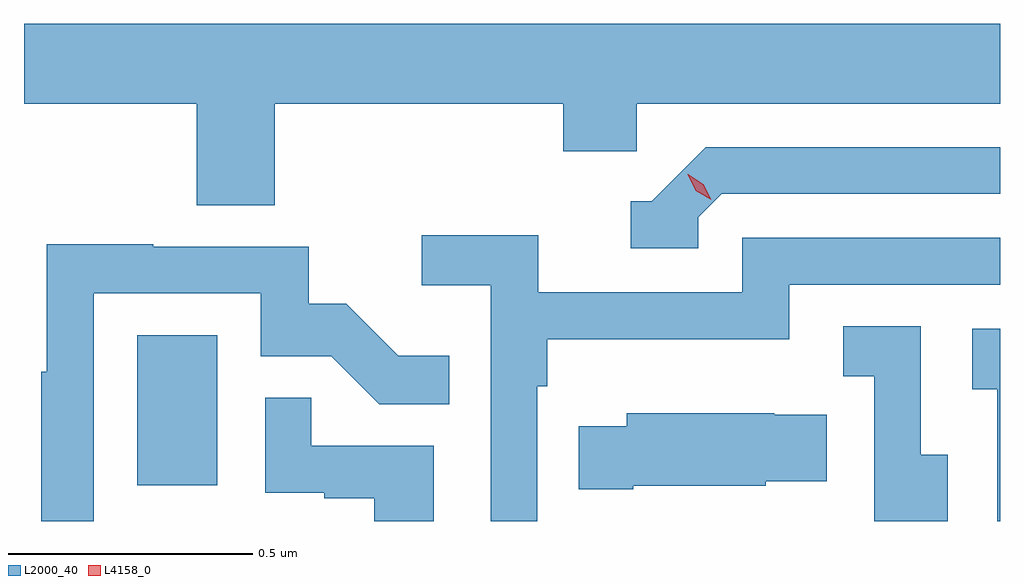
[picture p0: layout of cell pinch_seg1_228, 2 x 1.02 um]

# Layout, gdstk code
import gdstk
lib = gdstk.Library(unit=1e-6, precision=1e-09)
def R(c, l, rs):  # rectangles x0, y0, x1, y1
    for r in rs: c.add(gdstk.rectangle(r[:2], r[2:], *l))
def P(c, l, *ps):  # polygons
    for p in ps: c.add(gdstk.Polygon(p, *l))
L2000_40 = (2000, 40)
L4158_0 = (4158, 0)

pinch_seg1_228 = lib.new_cell('pinch_seg1_228')
R(pinch_seg1_228, L2000_40, [(993.602,569.598,993.766,569.905)])
P(pinch_seg1_228, L2000_40, [(993.884,570.38),(994.475,570.38),(994.475,570.282),(994.626,570.282),(994.626,570.38),(995.37,570.38),(995.37,570.544),(993.37,570.544),(993.37,570.38),(993.724,570.38),(993.724,570.172),(993.884,570.172)],
  [(994.752,570.147),(994.8,570.195),(995.37,570.195),(995.37,570.291),(994.767,570.291),(994.656,570.18),(994.613,570.18),(994.613,570.084),(994.752,570.084)],
  [(994.422,569.801),(994.442,569.801),(994.442,569.897),(994.938,569.897),(994.938,570.009),(995.37,570.009),(995.37,570.105),(994.842,570.105),(994.842,569.994),(994.424,569.994),(994.424,570.11),(994.185,570.11),(994.185,570.008),(994.326,570.008),(994.326,569.524),(994.422,569.524)],
  [(993.513,569.991),(993.855,569.991),(993.855,569.862),(994,569.862),(994.098,569.764),(994.241,569.764),(994.241,569.863),(994.137,569.863),(994.03,569.97),(993.954,569.97),(993.954,570.087),(993.635,570.087),(993.635,570.092),(993.417,570.092),(993.417,569.831),(993.405,569.831),(993.405,569.524),(993.513,569.524)],
  [(995.263,569.661),(995.208,569.661),(995.208,569.924),(995.049,569.924),(995.049,569.821),(995.112,569.821),(995.112,569.524),(995.263,569.524)],
  [(995.37,569.919),(995.313,569.919),(995.313,569.795),(995.364,569.795),(995.364,569.524),(995.37,569.524)],
  [(994.21,569.679),(993.959,569.679),(993.959,569.777),(993.864,569.777),(993.864,569.583),(993.985,569.583),(993.985,569.571),(994.088,569.571),(994.088,569.524),(994.21,569.524)],
  [(994.618,569.597),(994.89,569.597),(994.89,569.606),(995.015,569.606),(995.015,569.743),(994.907,569.743),(994.907,569.746),(994.605,569.746),(994.605,569.719),(994.507,569.719),(994.507,569.59),(994.618,569.59)])
P(pinch_seg1_228, L4158_0, [(994.778,570.183),(994.747,570.202),(994.73,570.234),(994.73,570.235),(994.731,570.235),(994.762,570.215),(994.778,570.183),(994.778,570.183)])

lib.write_gds('pinch_seg1_228.gds')
